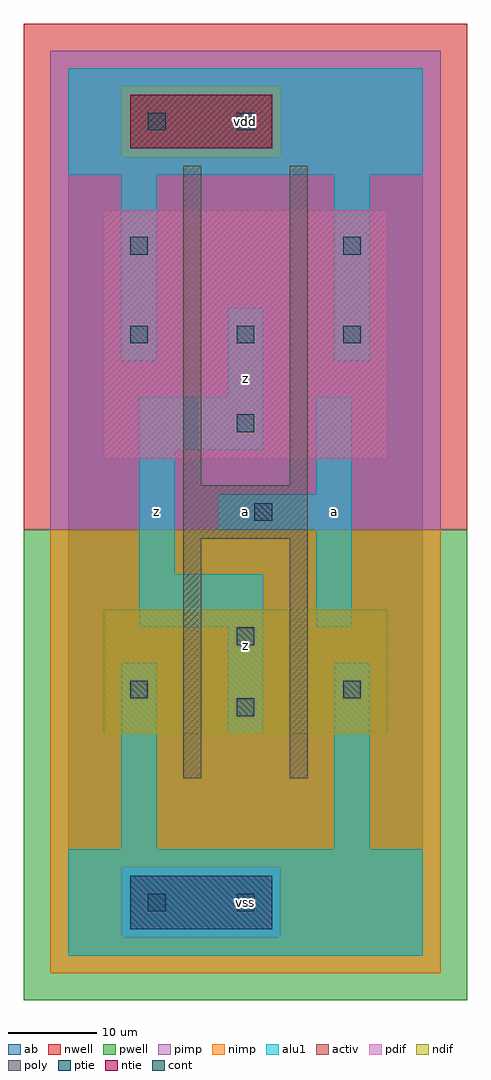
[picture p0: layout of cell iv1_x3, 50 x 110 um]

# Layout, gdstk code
import gdstk
lib = gdstk.Library(unit=1e-6, precision=1e-09)
def R(c, l, rs):  # rectangles x0, y0, x1, y1
    for r in rs: c.add(gdstk.rectangle(r[:2], r[2:], *l))
def A(c, l, x, y, w, h, nx, ny, dx, dy):  # array of equal rectangles
    R(c, l, [(x+i*dx, y+j*dy, x+i*dx+w, y+j*dy+h) for i in range(nx) for j in range(ny)])
ndif = (3, 0)
pdif = (4, 0)
ntie = (5, 0)
ptie = (6, 0)
cont = (25, 0)
pwell = (41, 0)
nwell = (42, 0)
activ = (43, 0)
pimp = (44, 0)
nimp = (45, 0)
poly = (46, 0)
alu1 = (49, 0)
ab = (63, 0)

iv1_x3 = lib.new_cell('iv1_x3')
R(iv1_x3, ndif, [(4,25,36,39)])
R(iv1_x3, pdif, [(4,56,36,84)])
R(iv1_x3, ntie, [(7,91,23,97)])
R(iv1_x3, ptie, [(7,3,23,9)])
A(iv1_x3, cont, 7, 69, 2, 2, 3, 1, 12, 0)
R(iv1_x3, cont, [(9,5,11,7), (19,5,21,7), (19,27,21,29), (7,29,9,31), (31,29,33,31), (19,35,21,37), (21,49,23,51), (19,59,21,61), (7,79,9,81), (31,79,33,81), (9,93,11,95), (19,93,21,95)])
R(iv1_x3, pwell, [(-5,-5,45,48)])
R(iv1_x3, nwell, [(-5,48,45,105)])
R(iv1_x3, activ, [(7,3,23,9), (4,25,36,39), (4,56,36,84), (7,91,23,97)])
R(iv1_x3, pimp, [(6,2,24,10), (-2,48,42,90), (-2,90,6,98), (24,90,42,98), (-2,98,42,102)])
R(iv1_x3, nimp, [(-2,-2,42,2), (-2,2,6,10), (24,2,42,10), (-2,10,42,48), (6,90,24,98)])
R(iv1_x3, poly, [(13,20,15,47), (25,20,27,47), (13,47,27,53), (13,53,15,89), (25,53,27,89)])
R(iv1_x3, alu1, [(0,0,40,12), (6,12,10,33), (30,12,34,33), (18,25,22,37), (8,37,22,43), (28,37,32,48), (8,43,12,57), (17,48,32,52), (28,52,32,63), (8,57,22,63), (18,63,22,73), (6,67,10,88), (30,67,34,88), (0,88,40,100)])
R(iv1_x3, ab, [(0,0,40,100)])
iv1_x3.add(gdstk.Label('z', (10,50), layer=49, texttype=0))
iv1_x3.add(gdstk.Label('vss', (20,6), layer=49, texttype=0))
iv1_x3.add(gdstk.Label('z', (20,35), layer=49, texttype=0))
iv1_x3.add(gdstk.Label('a', (20,50), layer=49, texttype=0))
iv1_x3.add(gdstk.Label('z', (20,65), layer=49, texttype=0))
iv1_x3.add(gdstk.Label('vdd', (20,94), layer=49, texttype=0))
iv1_x3.add(gdstk.Label('a', (30,50), layer=49, texttype=0))

lib.write_gds('iv1_x3.gds')
